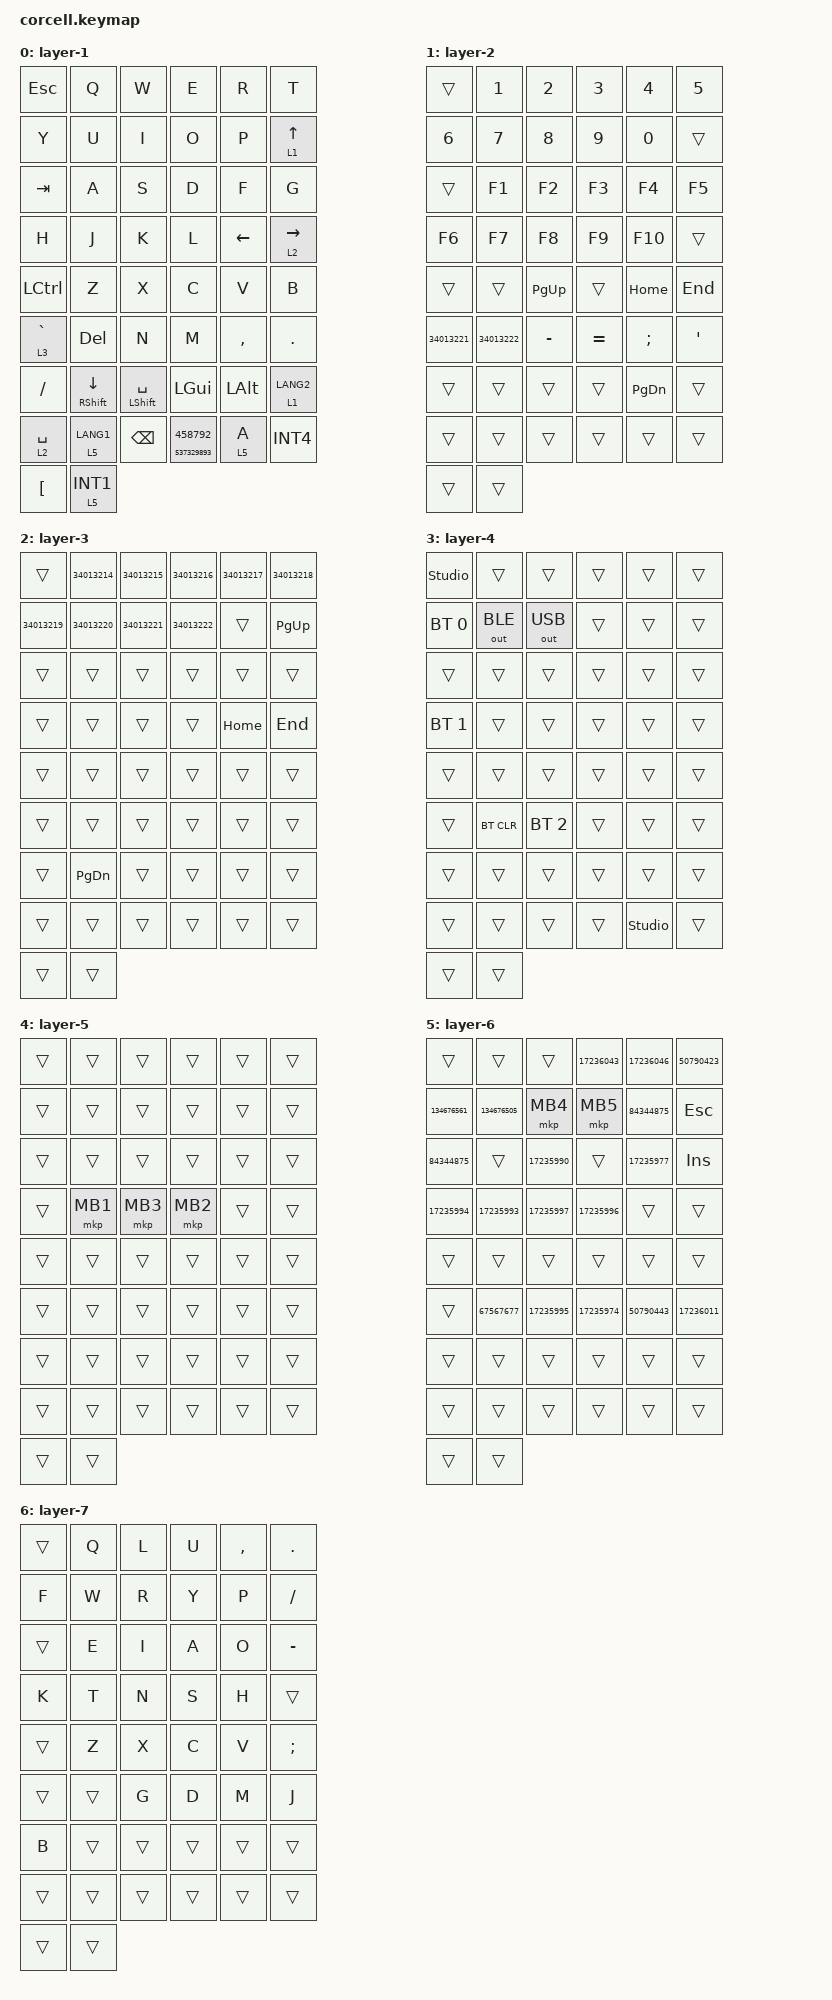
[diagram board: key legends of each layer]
#include <dt-bindings/zmk/mouse.h>
#include <behaviors.dtsi>
#include <dt-bindings/zmk/bt.h>
#include <dt-bindings/zmk/outputs.h>
#include <dt-bindings/zmk/keys.h>
#include <dt-bindings/zmk/pointing.h>
#include <behaviors/runtime-input-processor.dtsi>

/ {
    keymap {
        compatible = "zmk,keymap";
        layer-1 {
            bindings = <
                &kp ESCAPE    &kp Q    &kp W    &kp E    &kp R    &kp T
                &kp Y    &kp U    &kp I    &kp O    &kp P    &lt 1 UP
                &kp TAB    &kp A    &kp S    &kp D    &kp F    &kp G
                &kp H    &kp J    &kp K    &kp L    &kp LEFT    &lt 2 RIGHT
                &kp LEFT_CONTROL    &kp Z    &kp X    &kp C    &kp V    &kp B
                &lt 3 GRAVE    &kp DELETE    &kp N    &kp M    &kp COMMA    &kp PERIOD
                &kp SLASH    &mt RIGHT_SHIFT DOWN    &mt LEFT_SHIFT SPACE    &kp LEFT_GUI    &kp LEFT_ALT    &lt 1 LANG2
                &lt 2 SPACE    &lt 5 LANG1    &kp BACKSPACE    &mt 537329893 458792    &lt 5 A    &kp INT4
                &kp LEFT_BRACKET    &lt 5 INT1
            >;
        };
        layer-2 {
            bindings = <
                &trans    &kp N1    &kp N2    &kp N3    &kp N4    &kp N5
                &kp N6    &kp N7    &kp N8    &kp N9    &kp N0    &trans
                &trans    &kp F1    &kp F2    &kp F3    &kp F4    &kp F5
                &kp F6    &kp F7    &kp F8    &kp F9    &kp F10    &trans
                &trans    &trans    &kp PAGE_UP    &trans    &kp HOME    &kp END
                &kp 34013221    &kp 34013222    &kp MINUS    &kp EQUAL    &kp SEMICOLON    &kp SQT
                &trans    &trans    &trans    &trans    &kp PAGE_DOWN    &trans
                &trans    &trans    &trans    &trans    &trans    &trans
                &trans    &trans
            >;
        };
        layer-3 {
            bindings = <
                &trans    &kp 34013214    &kp 34013215    &kp 34013216    &kp 34013217    &kp 34013218
                &kp 34013219    &kp 34013220    &kp 34013221    &kp 34013222    &trans    &kp PAGE_UP
                &trans    &trans    &trans    &trans    &trans    &trans
                &trans    &trans    &trans    &trans    &kp HOME    &kp END
                &trans    &trans    &trans    &trans    &trans    &trans
                &trans    &trans    &trans    &trans    &trans    &trans
                &trans    &kp PAGE_DOWN    &trans    &trans    &trans    &trans
                &trans    &trans    &trans    &trans    &trans    &trans
                &trans    &trans
            >;
        };
        layer-4 {
            bindings = <
                &studio_unlock    &trans    &trans    &trans    &trans    &trans
                &bt BT_SEL 0    &out OUT_BLE    &out OUT_USB    &trans    &trans    &trans
                &trans    &trans    &trans    &trans    &trans    &trans
                &bt BT_SEL 1    &trans    &trans    &trans    &trans    &trans
                &trans    &trans    &trans    &trans    &trans    &trans
                &trans    &bt BT_CLR    &bt BT_SEL 2    &trans    &trans    &trans
                &trans    &trans    &trans    &trans    &trans    &trans
                &trans    &trans    &trans    &trans    &studio_unlock    &trans
                &trans    &trans
            >;
        };
        layer-5 {
            bindings = <
                &trans    &trans    &trans    &trans    &trans    &trans
                &trans    &trans    &trans    &trans    &trans    &trans
                &trans    &trans    &trans    &trans    &trans    &trans
                &trans    &mkp MB1    &mkp MB3    &mkp MB2    &trans    &trans
                &trans    &trans    &trans    &trans    &trans    &trans
                &trans    &trans    &trans    &trans    &trans    &trans
                &trans    &trans    &trans    &trans    &trans    &trans
                &trans    &trans    &trans    &trans    &trans    &trans
                &trans    &trans
            >;
        };
        layer-6 {
            bindings = <
                &trans    &trans    &trans    &kp 17236043    &kp 17236046    &kp 50790423
                &kp 134676561    &kp 134676505    &mkp MB4    &mkp MB5    &kp 84344875    &kp ESCAPE
                &kp 84344875    &trans    &kp 17235990    &trans    &kp 17235977    &kp INS
                &kp 17235994    &kp 17235993    &kp 17235997    &kp 17235996    &trans    &trans
                &trans    &trans    &trans    &trans    &trans    &trans
                &trans    &kp 67567677    &kp 17235995    &kp 17235974    &kp 50790443    &kp 17236011
                &trans    &trans    &trans    &trans    &trans    &trans
                &trans    &trans    &trans    &trans    &trans    &trans
                &trans    &trans
            >;
        };
        layer-7 {
            bindings = <
                &trans    &kp Q    &kp L    &kp U    &kp COMMA    &kp PERIOD
                &kp F    &kp W    &kp R    &kp Y    &kp P    &kp SLASH
                &trans    &kp E    &kp I    &kp A    &kp O    &kp MINUS
                &kp K    &kp T    &kp N    &kp S    &kp H    &trans
                &trans    &kp Z    &kp X    &kp C    &kp V    &kp SEMICOLON
                &trans    &trans    &kp G    &kp D    &kp M    &kp J
                &kp B    &trans    &trans    &trans    &trans    &trans
                &trans    &trans    &trans    &trans    &trans    &trans
                &trans    &trans
            >;
        };
    };
};
